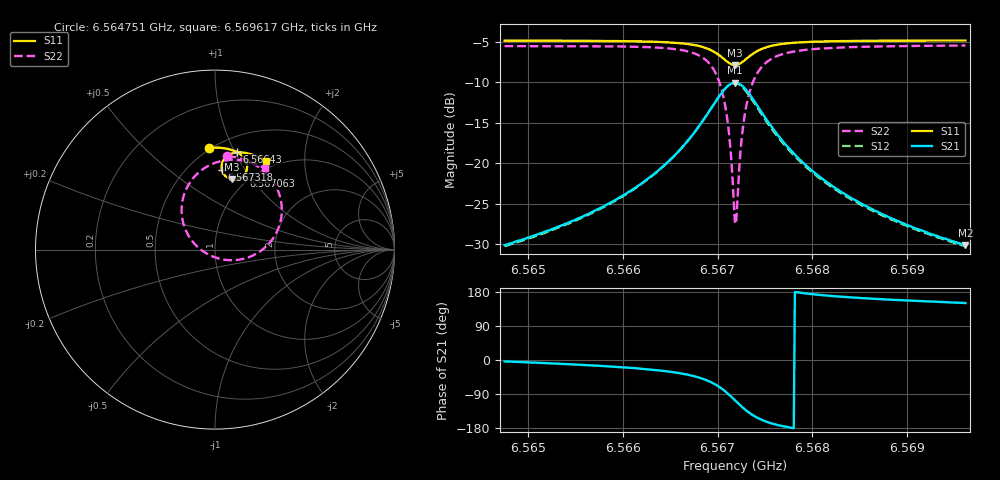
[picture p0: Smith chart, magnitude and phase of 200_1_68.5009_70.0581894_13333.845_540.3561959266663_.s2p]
#  HZ  S  RI  R  50.00
! Rohde & Schwarz Vector Network Analyzer
! Rohde-Schwarz,ZNB20-2Port,1311601062101988,3.16
! Created: UTC 3/20/2024, 5:12:42 PM
! freq[Hz]  re:S11  im:S11  re:S21  im:S21  re:S12  im:S12  re:S22  im:S22
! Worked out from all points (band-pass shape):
!   401 points, 6.564751 GHz to 6.569617 GHz, reference 50 ohm
!   highest |S21| = -10.07 dB at 6.567184 GHz (marker M1); lowest = -30.1 dB at 6.569617 GHz (marker M2)
!   |S21| within 3 dB of the highest: 6.566942 GHz to 6.567428 GHz (486.2 kHz wide, 0.0074 % of centre)
!   lowest |S11| = -7.9 dB at 6.567184 GHz (marker M3), VSWR 2.34, Z = 42.9 + j40 ohm
!   |S11| at or under -10 dB: nowhere
!   |S22| runs from -27.5 to -5.5 dB; largest |S21 - S12| = 0.016
!   S11 on the Smith chart (normalised r, x): 6.564751 GHz: 0.49, +0.82; 6.56643 GHz: 0.65, +1.02; 6.567063 GHz: 0.92, +0.94; 6.567318 GHz: 0.71, +0.79; 6.569617 GHz: 0.89, +1.30
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6.5647514e9  -0.0322 0.5682  0.0312 -0.00202  0.0308 -0.00251  0.0696 0.5218
6.5655664e9  0.0362 0.5665  0.0455 -0.0104  0.0448 -0.0109  0.1515 0.5041
6.5663813e9  0.1165 0.5466  0.0808 -0.0418  0.0795 -0.0428  0.2715 0.4379
6.56643e9  0.1222 0.5439  0.0844 -0.0464  0.0832 -0.0474  0.2815 0.4288
6.5666854e9  0.1545 0.5202  0.1071 -0.0862  0.1054 -0.0879  0.3404 0.351
6.5668679e9  0.1757 0.4838  0.1181 -0.1499  0.1151 -0.1532  0.3721 0.2278
6.5669774e9  0.1772 0.4464  0.1022 -0.2155  0.0964 -0.2198  0.3463 0.103
6.5670625e9  0.159 0.4117  0.0535 -0.2748  0.0432 -0.278  0.2553 -0.00702
6.5671234e9  0.1299 0.3931  -0.0101 -0.3037  -0.0237 -0.3031  0.137 -0.0559
6.567172e9  0.0997 0.3899  -0.0727 -0.3046  -0.0869 -0.299  0.024 -0.0507
6.5671842e9  0.0921 0.3913  -0.0884 -0.3009  -0.1024 -0.2941  -0.00351 -0.0422
6.5671963e9  0.0844 0.3934  -0.1038 -0.2955  -0.1172 -0.2877  -0.0301 -0.0308
6.5672085e9  0.0772 0.3964  -0.1185 -0.2889  -0.1311 -0.2797  -0.0551 -0.0169
6.567245e9  0.0584 0.4093  -0.1564 -0.2614  -0.1663 -0.2496  -0.1183 0.037
6.5672693e9  0.0491 0.4206  -0.1758 -0.2389  -0.1835 -0.2259  -0.1485 0.0795
6.567318e9  0.0386 0.445  -0.1992 -0.1905  -0.2024 -0.1772  -0.1813 0.1675
6.5674031e9  0.0404 0.4833  -0.2029 -0.1165  -0.2014 -0.1057  -0.1752 0.297
6.5675248e9  0.0617 0.5169  -0.1753 -0.0514  -0.1719 -0.045  -0.1146 0.4065
6.5677072e9  0.0967 0.5369  -0.1322 -0.00999  -0.1291 -0.00673  -0.0246 0.4731
6.5679992e9  0.14 0.5423  -0.0894 0.00979  -0.0871 0.0112  0.0705 0.4992
6.5688142e9  0.2207 0.5244  -0.0433 0.0164  -0.0425 0.0167  0.2032 0.4844
6.569617e9  0.2818 0.4961  -0.0271 0.0154  -0.0265 0.0157  0.2793 0.452
